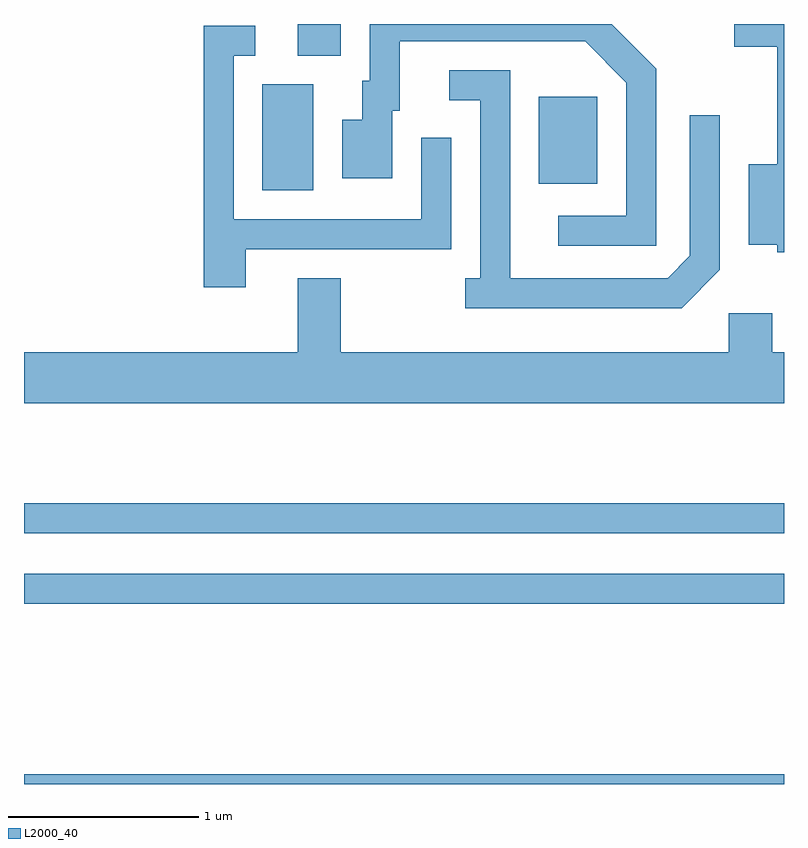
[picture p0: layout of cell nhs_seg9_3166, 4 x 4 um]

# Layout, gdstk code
import gdstk
lib = gdstk.Library(unit=1e-6, precision=1e-09)
def R(c, l, rs):  # rectangles x0, y0, x1, y1
    for r in rs: c.add(gdstk.rectangle(r[:2], r[2:], *l))
def P(c, l, *ps):  # polygons
    for p in ps: c.add(gdstk.Polygon(p, *l))
L2000_40 = (2000, 40)

nhs_seg9_3166 = lib.new_cell('nhs_seg9_3166')
R(nhs_seg9_3166, L2000_40, [(277.611,2036.432,281.611,2036.484), (277.611,2037.381,281.611,2037.539), (277.611,2037.751,281.611,2037.909), (278.866,2039.556,279.134,2040.114), (280.321,2039.591,280.629,2040.049), (279.051,2040.266,279.279,2040.432)])
P(nhs_seg9_3166, L2000_40, [(281.611,2040.432),(281.348,2040.432),(281.348,2040.311),(281.576,2040.311),(281.576,2039.694),(281.426,2039.694),(281.426,2039.271),(281.576,2039.271),(281.576,2039.231),(281.611,2039.231)],
  [(280.939,2040.197),(280.704,2040.432),(279.431,2040.432),(279.431,2040.134),(279.391,2040.134),(279.391,2039.929),(279.286,2039.929),(279.286,2039.621),(279.549,2039.621),(279.549,2039.976),(279.589,2039.976),(279.589,2040.341),(280.564,2040.341),(280.781,2040.124),(280.781,2039.424),(280.423,2039.424),(280.423,2039.266),(280.939,2039.266)],
  [(278.779,2039.246),(279.859,2039.246),(279.859,2039.833),(279.701,2039.833),(279.701,2039.404),(278.714,2039.404),(278.714,2040.266),(278.828,2040.266),(278.828,2040.424),(278.556,2040.424),(278.556,2039.046),(278.779,2039.046)],
  [(281.274,2039.139),(281.274,2039.953),(281.116,2039.953),(281.116,2039.212),(280.999,2039.094),(280.169,2039.094),(280.169,2040.189),(279.848,2040.189),(279.848,2040.031),(280.011,2040.031),(280.011,2039.094),(279.933,2039.094),(279.933,2038.936),(281.072,2038.936)],
  [(281.611,2038.704),(281.549,2038.704),(281.549,2038.909),(281.321,2038.909),(281.321,2038.704),(279.279,2038.704),(279.279,2039.094),(279.051,2039.094),(279.051,2038.704),(277.611,2038.704),(277.611,2038.436),(281.611,2038.436)])

lib.write_gds('nhs_seg9_3166.gds')
